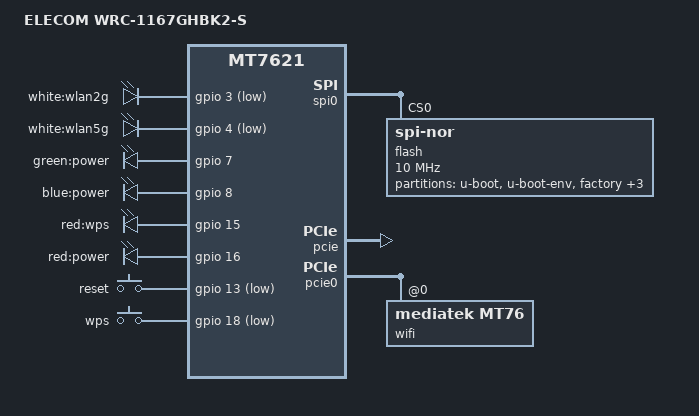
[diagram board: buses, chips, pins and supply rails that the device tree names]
#include "mt7621.dtsi"

#include <dt-bindings/gpio/gpio.h>
#include <dt-bindings/input/input.h>

/ {
	compatible = "elecom,wrc-1167ghbk2-s", "mediatek,mt7621-soc";
	model = "ELECOM WRC-1167GHBK2-S";

	aliases {
		led-boot = &led_power_green;
		led-failsafe = &led_power_green;
		led-running = &led_power_green;
		led-upgrade = &led_power_green;
	};

	leds {
		compatible = "gpio-leds";

		wlan2g {
			label = "white:wlan2g";
			gpios = <&gpio 3 GPIO_ACTIVE_LOW>;
			linux,default-trigger = "phy0radio";
		};

		wlan5g {
			label = "white:wlan5g";
			gpios = <&gpio 4 GPIO_ACTIVE_LOW>;
		};

		led_power_green: power_green {
			label = "green:power";
			gpios = <&gpio 7 GPIO_ACTIVE_HIGH>;
		};

		power_blue {
			label = "blue:power";
			gpios = <&gpio 8 GPIO_ACTIVE_HIGH>;
		};

		wps {
			label = "red:wps";
			gpios = <&gpio 15 GPIO_ACTIVE_HIGH>;
		};

		power_red {
			label = "red:power";
			gpios = <&gpio 16 GPIO_ACTIVE_HIGH>;
		};
	};

	keys {
		compatible = "gpio-keys";

		reset {
			label = "reset";
			gpios = <&gpio 13 GPIO_ACTIVE_LOW>;
			linux,code = <KEY_RESTART>;
		};

		wps {
			label = "wps";
			gpios = <&gpio 18 GPIO_ACTIVE_LOW>;
			linux,code = <KEY_WPS_BUTTON>;
		};
	};
};

&gmac0 {
	mtd-mac-address = <&factory 0xe000>;
};

&switch0 {
	ports {
		port@0 {
			status = "okay";
			label = "wan";
			mtd-mac-address = <&factory 0xe006>;
		};

		port@1 {
			status = "okay";
			label = "lan4";
		};

		port@2 {
			status = "okay";
			label = "lan3";
		};

		port@3 {
			status = "okay";
			label = "lan2";
		};

		port@4 {
			status = "okay";
			label = "lan1";
		};
	};
};

&spi0 {
	status = "okay";

	flash@0 {
		compatible = "jedec,spi-nor";
		reg = <0>;
		spi-max-frequency = <10000000>;

		partitions {
			compatible = "fixed-partitions";
			#address-cells = <1>;
			#size-cells = <1>;

			partition@0 {
				label = "u-boot";
				reg = <0x0 0x30000>;
				read-only;
			};

			partition@30000 {
				label = "u-boot-env";
				reg = <0x30000 0x10000>;
				read-only;
			};

			factory: partition@40000 {
				label = "factory";
				reg = <0x40000 0x10000>;
				read-only;
			};

			partition@50000 {
				compatible = "denx,uimage";
				label = "firmware";
				reg = <0x50000 0xf20000>;
			};

			partition@f70000 {
				label = "user_data";
				reg = <0xf70000 0x80000>;
				read-only;
			};

			partition@ff0000 {
				label = "NVRAM";
				reg = <0xff0000 0x10000>;
				read-only;
			};
		};
	};
};

&state_default {
	gpio {
		groups = "i2c", "uart3", "jtag", "wdt";
		function = "gpio";
	};
};

&pcie {
	status = "okay";
};

&pcie0 {
	wifi@0,0 {
		compatible = "mediatek,mt76";
		reg = <0x0000 0 0 0 0>;
		mediatek,mtd-eeprom = <&factory 0x0>;
		mtd-mac-address = <&factory 0xe000>;
		mtd-mac-address-increment = <1>;
	};
};

&xhci {
	status = "disabled";
};
